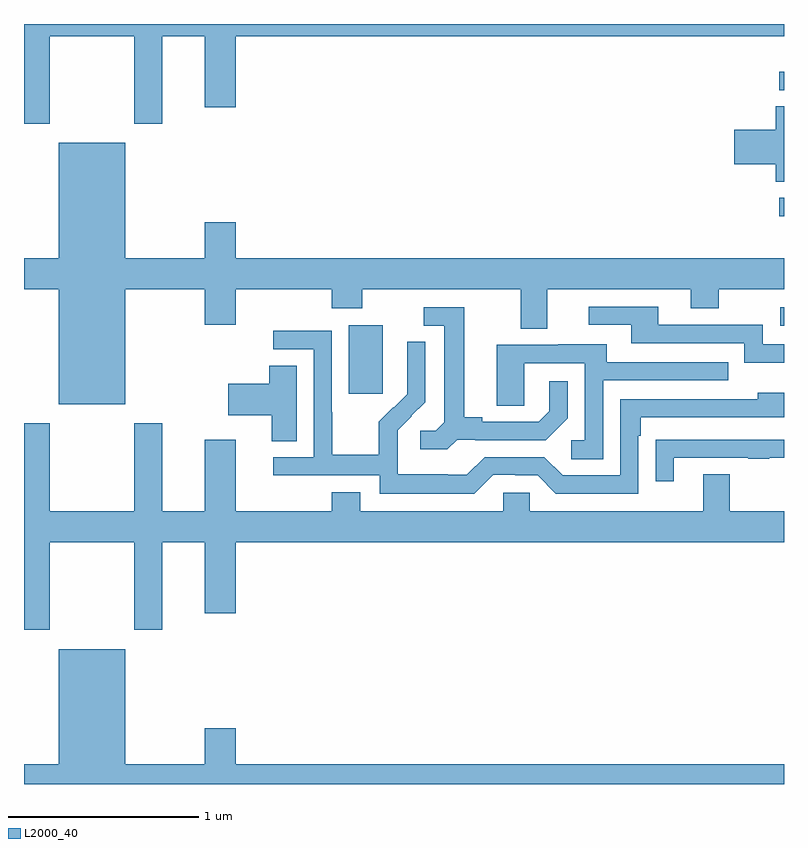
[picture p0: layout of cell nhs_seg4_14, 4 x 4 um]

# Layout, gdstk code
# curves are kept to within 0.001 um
import gdstk
lib = gdstk.Library(unit=1e-6, precision=1e-09)
def R(c, l, rs):  # rectangles x0, y0, x1, y1
    for r in rs: c.add(gdstk.rectangle(r[:2], r[2:], *l))
def P(c, l, *ps):  # polygons
    for p in ps: c.add(gdstk.Polygon(p, *l))
L2000_40 = (2000, 40)

nhs_seg4_14 = lib.new_cell('nhs_seg4_14')
R(nhs_seg4_14, L2000_40, [(112.709,778.953,112.888,779.314), (114.981,779.313,115,779.409), (114.975,779.887,115,779.985), (114.975,780.552,115,780.648)])
P(nhs_seg4_14, L2000_40, [(111.135,780.836),(111.58,780.836),(111.58,780.375),(111.727,780.375),(111.727,780.836),(111.95,780.836),(111.95,780.462),(112.114,780.462),(112.114,780.836),(115,780.836),(115,780.9),(111,780.9),(111,780.375),(111.135,780.375)],
  [(115,780.467),(114.956,780.467),(114.956,780.344),(114.738,780.344),(114.738,780.161),(114.956,780.161),(114.956,780.07),(115,780.07)],
  [(111.532,779.504),(111.95,779.504),(111.95,779.316),(112.114,779.316),(112.114,779.504),(112.619,779.504),(112.619,779.405),(112.779,779.405),(112.779,779.504),(113.615,779.504),(113.615,779.296),(113.755,779.296),(113.755,779.504),(114.509,779.504),(114.509,779.405),(114.657,779.405),(114.657,779.504),(115,779.504),(115,779.668),(112.114,779.668),(112.114,779.857),(111.95,779.857),(111.95,779.668),(111.532,779.668),(111.532,780.274),(111.182,780.274),(111.182,779.668),(111,779.668),(111,779.504),(111.182,779.504),(111.182,778.898),(111.532,778.898)],
  [(115,779.214),(114.888,779.214),(114.888,779.316),(114.337,779.316),(114.337,779.412),(113.973,779.412),(113.973,779.316),(114.197,779.316),(114.197,779.22),(114.792,779.22),(114.792,779.117),(115,779.117)],
  [(113.28,778.713),(113.374,778.713),(113.374,778.71),(113.746,778.71),(113.862,778.826),(113.862,779.02),(113.765,779.02),(113.765,778.863),(113.708,778.806),(113.413,778.806),(113.413,778.829),(113.317,778.829),(113.317,779.409),(113.103,779.409),(113.103,779.313),(113.213,779.313),(113.213,778.805),(113.166,778.758),(113.085,778.758),(113.085,778.661),(113.228,778.661)],
  [(113.469,778.527),(113.585,778.527),(113.585,778.524),(113.703,778.524),(113.799,778.428),(114.234,778.428),(114.234,778.733),(114.247,778.733),(114.247,778.83),(115,778.83),(115,778.96),(114.863,778.96),(114.863,778.926),(114.138,778.926),(114.138,778.524),(113.835,778.524),(113.739,778.62),(113.424,778.62),(113.331,778.527),(113.231,778.527),(113.231,778.531),(112.968,778.531),(112.968,778.665),(112.966,778.665),(112.966,778.762),(113.112,778.91),(113.112,779.228),(113.016,779.228),(113.016,779.074),(113.018,779.074),(113.018,778.952),(112.947,778.881),(112.944,778.884),(112.867,778.807),(112.867,778.633),(112.623,778.633),(112.623,778.856),(112.62,778.856),(112.62,779.286),(112.311,779.286),(112.311,779.187),(112.524,779.187),(112.524,778.62),(112.311,778.62),(112.311,778.524),(112.872,778.524),(112.872,778.427),(113.369,778.427)],
  [(114.048,779.025),(114.707,779.025),(114.707,779.121),(114.067,779.121),(114.067,779.215),(113.813,779.215),(113.813,779.211),(113.489,779.211),(113.489,778.891),(113.634,778.891),(113.634,779.115),(113.952,779.115),(113.952,778.71),(113.88,778.71),(113.88,778.609),(114.048,778.609)],
  [(112.435,779.102),(112.292,779.102),(112.292,779.007),(112.074,779.007),(112.074,778.841),(112.304,778.841),(112.304,778.705),(112.435,778.705)],
  [(111.135,778.172),(111.58,778.172),(111.58,777.711),(111.727,777.711),(111.727,778.172),(111.95,778.172),(111.95,777.798),(112.114,777.798),(112.114,778.172),(115,778.172),(115,778.336),(114.715,778.336),(114.715,778.531),(114.575,778.531),(114.575,778.336),(113.661,778.336),(113.661,778.434),(113.523,778.434),(113.523,778.336),(112.771,778.336),(112.771,778.435),(112.619,778.435),(112.619,778.336),(112.114,778.336),(112.114,778.711),(111.95,778.711),(111.95,778.336),(111.727,778.336),(111.727,778.798),(111.58,778.798),(111.58,778.336),(111.135,778.336),(111.135,778.798),(111,778.798),(111,777.711),(111.135,777.711)],
  [(114.421,778.617),(114.811,778.617),(114.811,778.612),(114.923,778.612),(114.923,778.617),(115,778.617),(115,778.713),(114.427,778.713),(114.427,778.712),(114.325,778.712),(114.325,778.494),(114.421,778.494)],
  [(115,777.004),(112.114,777.004),(112.114,777.193),(111.95,777.193),(111.95,777.004),(111.532,777.004),(111.532,777.61),(111.182,777.61),(111.182,777.004),(111,777.004),(111,776.9),(115,776.9)])

lib.write_gds('nhs_seg4_14.gds')
